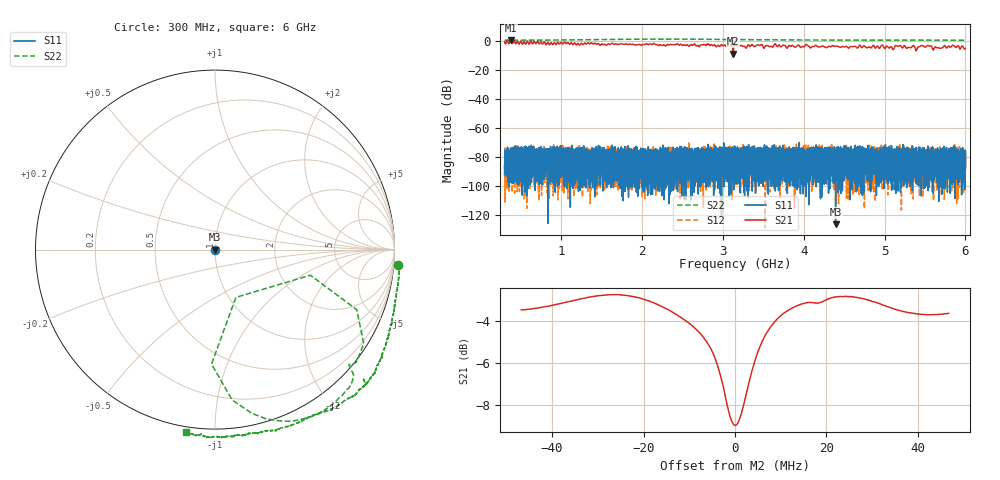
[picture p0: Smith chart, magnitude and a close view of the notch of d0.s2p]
!Agilent Technologies,N5230C,SG49000117,A.08.50.07
!Agilent N5230C: A.08.50.07
!Date: Sunday, March 17, 2024 09:21:41
!Correction: S11(Off)
!S21(Off)
!S12(Off)
!S22(Full 1 Port(2))
!S2P File: Measurements: S11, S21, S12, S22:
# Hz S  RI  R 50
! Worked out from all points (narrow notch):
!   20001 points, 300 MHz to 6 GHz, reference 50 ohm
!   highest |S21| = 0.48 dB at 374.7 MHz (marker M1); lowest = -9.0 dB at 3.127 GHz (marker M2)
!   notch at M2: 5.7 dB deep, 7.8 MHz wide at half that depth
!   lowest |S11| = -126.5 dB at 4.394 GHz (marker M3), VSWR 1.00, Z = 50 + j2.1e-05 ohm
!   |S11| at or under -10 dB: start of sweep to end of sweep
!   |S22| runs from -11.0 to 1.1 dB; largest |S21 - S12| = 1.1
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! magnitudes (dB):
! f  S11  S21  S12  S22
! 300 MHz  -88.3  -0.9  -92.1  0.2
! 374.7 MHz  -94.5  0.5  -78.8  0.3
! 1.25 GHz  -84.8  -1.7  -83.2  0.6
! 2.2 GHz  -83.6  -3.3  -84.1  1.0
! 3.051 GHz  -89.1  -3.9  -82.7  0.7
! 3.127 GHz  -82.9  -9.0  -84.7  -10.3
! 3.15 GHz  -76.9  -2.8  -75.2  0.4
! 3.193 GHz  -78.5  -3.0  -79.3  0.7
! 3.979 GHz  -77.6  -4.0  -83.7  0.4
! 4.038 GHz  -88.6  -2.9  -82.4  0.4
! 4.1 GHz  -85.4  -4.3  -84.3  0.4
! 4.394 GHz  -126.5  -3.8  -75.9  0.4
! 5.05 GHz  -76.1  -5.0  -89.6  0.4
! 5.099 GHz  -87.7  -5.7  -85.6  0.4
! 5.172 GHz  -88.1  -3.9  -88.5  0.4
! 5.401 GHz  -79.8  -5.9  -84.1  0.4
! 5.448 GHz  -86.9  -3.6  -85.1  0.4
! 5.552 GHz  -79.8  -3.7  -83.5  0.3
! 5.618 GHz  -78.2  -4.8  -88.3  0.3
! 5.85 GHz  -80.7  -3.3  -78.8  0.3
! 5.97 GHz  -84.3  -4.3  -86.1  0.3
! 6 GHz  -87.4  -5.4  -76.2  0.3
